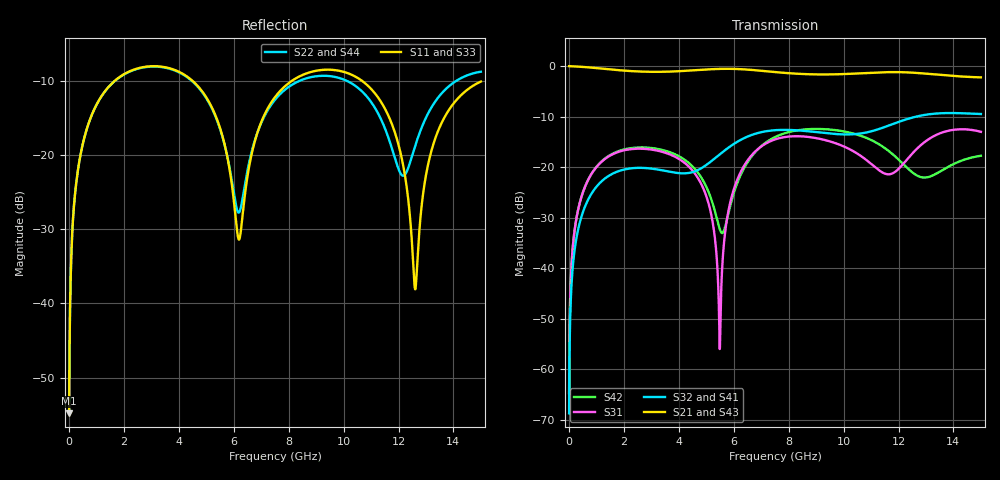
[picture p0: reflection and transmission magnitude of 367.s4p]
! Created with skrf 1.8.0 (http://scikit-rf.org).
# GHz S RI R 50.0
!freq ReS11 ImS11 ReS12 ImS12 ReS13 ImS13
! ReS14 ImS14
! ReS21 ImS21 ReS22 ImS22 ReS23 ImS23
! ReS24 ImS24
! ReS31 ImS31 ReS32 ImS32 ReS33 ImS33
! ReS34 ImS34
! ReS41 ImS41 ReS42 ImS42 ReS43 ImS43
! ReS44 ImS44
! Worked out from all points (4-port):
!   2499 points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, 5 MHz to 15 GHz, reference 50 ohm
!   strongest paths, dB at 5 MHz, 3.476 GHz, 7.19 GHz, 11.1 GHz, 15 GHz:
!     S21: 0.0, -1.1, -1.0, -1.3, -2.2
!     S43: 0.0, -1.1, -1.0, -1.3, -2.2
!     S32: -68.7, -20.7, -12.9, -12.8, -9.5
!     S41: -68.7, -20.7, -12.9, -12.8, -9.5
!     S31: -64.7, -17.1, -15.3, -19.8, -13.0
!     S42: -64.7, -16.7, -15.0, -14.9, -17.7
!   lowest |S11| = -54.8 dB at 5 MHz (marker M1), VSWR 1.00, Z = 50.1 + j0.111 ohm
!   |S11| at or under -10 dB: start of sweep to 1.677 GHz; 4.488 GHz to 8.131 GHz (3.642 GHz wide, 57.7 % of centre); 10.66 GHz to end of sweep
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0.005  0.00145 0.0011  0.9985 -0.00283  7.24e-05 0.000577  -7.04e-05 -0.000361
       0.9985 -0.00283  0.00145 0.0011  -7.04e-05 -0.000361  7.25e-05 0.000577
       7.24e-05 0.000577  -7.04e-05 -0.000361  0.00145 0.0011  0.9985 -0.00283
       -7.04e-05 -0.000361  7.25e-05 0.000577  0.9985 -0.00283  0.00145 0.0011
1.619545  0.2472 0.1862  0.5999 -0.6989  0.1151 0.0714  -0.0859 -0.0144
          0.5999 -0.6989  0.245 0.1875  -0.0859 -0.0144  0.1218 0.0636
          0.1151 0.0714  -0.0859 -0.0144  0.2472 0.1862  0.5998 -0.699
          -0.0859 -0.0144  0.1218 0.0636  0.5998 -0.699  0.2451 0.1875
5.489787  0.0732 -0.1353  -0.8492 -0.3993  -0.00137 -0.000808  -0.0534 0.1228
          -0.8492 -0.3993  0.0847 -0.1262  -0.0523 0.1233  -0.0203 -0.0136
          -0.00137 -0.000808  -0.0523 0.1233  0.0749 -0.1357  -0.849 -0.3993
          -0.0534 0.1228  -0.0203 -0.0136  -0.849 -0.3993  0.0839 -0.1277
6.533972  0.0455 0.0638  -0.9149 0.117  0.035 0.1145  0.0386 0.1991
          -0.9149 0.117  0.0584 0.0607  0.0401 0.1986  0.0412 0.1078
          0.035 0.1145  0.0401 0.1986  0.0473 0.0623  -0.9149 0.1171
          0.0386 0.1991  0.0412 0.1078  -0.9149 0.1171  0.0564 0.0601
9.854106  0.3544 -0.098  0.0986 0.8256  0.1657 -0.0206  0.1895 -0.0929
          0.0986 0.8256  0.3232 -0.0597  0.189 -0.0954  0.1476 -0.1758
          0.1657 -0.0206  0.189 -0.0954  0.3549 -0.0987  0.0996 0.8251
          0.1895 -0.0929  0.1476 -0.1758  0.0996 0.8251  0.3243 -0.0608
12.60525  0.0123 -0.00166  0.8571 0.0424  0.126 0.0741  0.0103 -0.3152
          0.8571 0.0424  0.0869 0.0748  0.00471 -0.3146  -0.0775 0.0347
          0.126 0.0741  0.00471 -0.3146  0.0195 -0.00371  0.8574 0.0404
          0.0103 -0.3152  -0.0775 0.0347  0.8574 0.0404  0.079 0.0734
15  0.2865 0.1224  0.3458 -0.6924  0.1995 -0.1017  -0.3213 -0.1009
    0.3458 -0.6924  0.3582 0.0574  -0.322 -0.0953  0.1215 -0.0459
    0.1995 -0.1017  -0.322 -0.0953  0.292 0.1104  0.3419 -0.6944
    -0.3213 -0.1009  0.1215 -0.0459  0.3419 -0.6944  0.3551 0.0667
